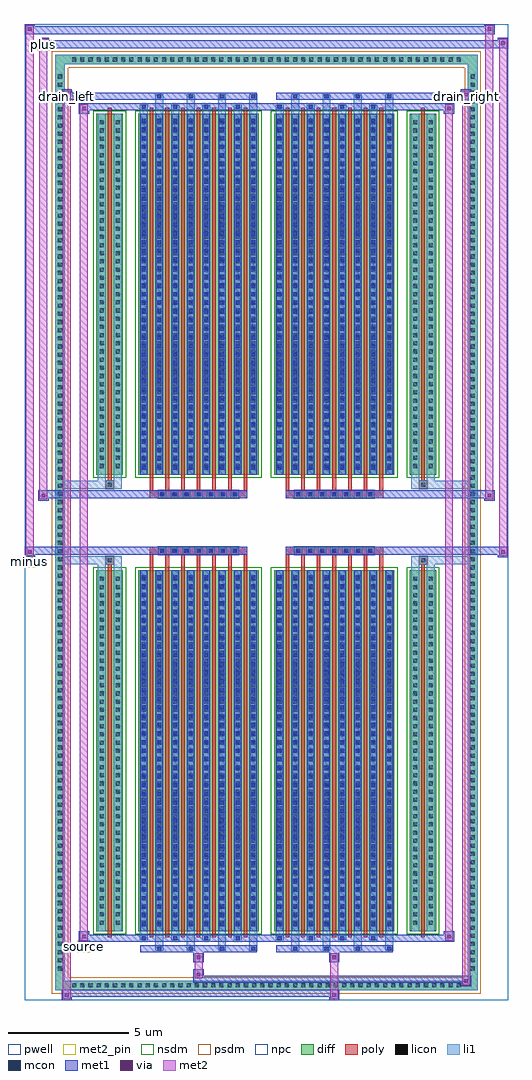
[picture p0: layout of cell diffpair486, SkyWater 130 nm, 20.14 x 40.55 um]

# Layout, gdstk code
import gdstk
lib = gdstk.Library(unit=1e-6, precision=5e-09)
def R(c, l, rs):  # rectangles x0, y0, x1, y1
    for r in rs: c.add(gdstk.rectangle(r[:2], r[2:], *l))
def A(c, l, x, y, w, h, nx, ny, dx, dy):  # array of equal rectangles
    R(c, l, [(x+i*dx, y+j*dy, x+i*dx+w, y+j*dy+h) for i in range(nx) for j in range(ny)])
def P(c, l, *ps):  # polygons
    for p in ps: c.add(gdstk.Polygon(p, *l))
pwell = (64, 44)
diff = (65, 20)
poly = (66, 20)
licon = (66, 44)
li1 = (67, 20)
mcon = (67, 44)
met1 = (68, 20)
via = (68, 44)
met2_pin = (69, 16)
met2 = (69, 20)
nsdm = (93, 44)
psdm = (94, 20)
npc = (95, 20)

diffpair486 = lib.new_cell('diffpair486')
R(diffpair486, pwell, [(-10.05,-19.84,10.05,20.71), (-7.37,-18.03,-0.01,-0.805), (0.01,-18.03,7.37,-0.805), (-7.37,0.805,-0.01,18.03), (0.01,0.805,7.37,18.03)])
A(diffpair486, diff, -8.195, -19.44, 0.41, 0.41, 48, 2, 0.34, 38.47)
A(diffpair486, diff, -8.78, -18.735, 0.41, 0.41, 1, 110, 0, 0.34)
A(diffpair486, diff, 8.37, -18.735, 0.41, 0.41, 1, 110, 0, 0.34)
R(diffpair486, diff, [(-8.195,-19.44,8.195,-19.03), (-8.78,-18.735,-8.37,18.735), (8.37,-18.735,8.78,18.735), (-7.06,-16.985,-5.96,-1.985), (-5.32,-16.985,-0.32,-1.985), (0.32,-16.985,5.32,-1.985), (5.96,-16.985,7.06,-1.985), (-7.06,1.985,-5.96,16.985), (-5.32,1.985,-0.32,16.985), (0.32,1.985,5.32,16.985), (5.96,1.985,7.06,16.985), (-8.195,19.03,8.195,19.44)])
P(diffpair486, diff, [(8.78,19.44),(-8.78,19.44),(-8.78,-19.03),(-8.37,-19.03),(-8.37,19.03),(8.37,19.03),(8.37,-19.03),(-8.37,-19.03),(-8.78,-19.03),(-8.78,-19.44),(8.78,-19.44)])
A(diffpair486, poly, -4.845, -17.235, 0.15, 15.5, 7, 2, 0.65, 18.97)
A(diffpair486, poly, 0.795, -17.235, 0.15, 15.5, 7, 2, 0.65, 18.97)
A(diffpair486, poly, -4.845, -1.735, 0.15, 0.4, 7, 2, 0.65, 3.07)
A(diffpair486, poly, 0.795, -1.735, 0.15, 0.4, 7, 2, 0.65, 3.07)
A(diffpair486, poly, -4.485, -1.335, 0.33, 0.33, 7, 2, 0.5, 2.34)
A(diffpair486, poly, 1.155, -1.335, 0.33, 0.33, 7, 2, 0.5, 2.34)
R(diffpair486, poly, [(-6.585,-17.235,-6.435,-1.735), (6.435,-17.235,6.585,-1.735), (-6.675,-1.735,-6.345,-1.405), (-6.675,-1.735,-6.345,-1.405), (6.345,-1.735,6.675,-1.405), (6.345,-1.735,6.675,-1.405), (-4.845,-1.335,-0.795,-1.005), (0.795,-1.335,4.845,-1.005), (-4.845,1.005,-0.795,1.335), (0.795,1.005,4.845,1.335), (-6.675,1.405,-6.345,1.735), (-6.675,1.405,-6.345,1.735), (6.345,1.405,6.675,1.735), (6.345,1.405,6.675,1.735), (-6.585,1.735,-6.435,17.235), (6.435,1.735,6.585,17.235)])
A(diffpair486, licon, -8.075, -19.32, 0.17, 0.17, 48, 2, 0.34, 38.47)
A(diffpair486, licon, -8.66, -18.615, 0.17, 0.17, 1, 110, 0, 0.34)
A(diffpair486, licon, 8.49, -18.615, 0.17, 0.17, 1, 110, 0, 0.34)
A(diffpair486, licon, -6.92, -16.71, 0.17, 0.17, 1, 43, 0, 0.34)
A(diffpair486, licon, -6.27, -16.71, 0.17, 0.17, 1, 43, 0, 0.34)
A(diffpair486, licon, -5.18, -16.71, 0.17, 0.17, 8, 43, 0.65, 0.34)
A(diffpair486, licon, 0.46, -16.71, 0.17, 0.17, 8, 43, 0.65, 0.34)
A(diffpair486, licon, 6.1, -16.71, 0.17, 0.17, 1, 43, 0, 0.34)
A(diffpair486, licon, 6.75, -16.71, 0.17, 0.17, 1, 43, 0, 0.34)
A(diffpair486, licon, -4.405, -1.255, 0.17, 0.17, 7, 2, 0.5, 2.34)
A(diffpair486, licon, 1.235, -1.255, 0.17, 0.17, 7, 2, 0.5, 2.34)
A(diffpair486, licon, -6.92, 2.26, 0.17, 0.17, 1, 43, 0, 0.34)
A(diffpair486, licon, -6.27, 2.26, 0.17, 0.17, 1, 43, 0, 0.34)
A(diffpair486, licon, -5.18, 2.26, 0.17, 0.17, 8, 43, 0.65, 0.34)
A(diffpair486, licon, 0.46, 2.26, 0.17, 0.17, 8, 43, 0.65, 0.34)
A(diffpair486, licon, 6.1, 2.26, 0.17, 0.17, 1, 43, 0, 0.34)
A(diffpair486, licon, 6.75, 2.26, 0.17, 0.17, 1, 43, 0, 0.34)
R(diffpair486, licon, [(-6.595,-1.655,-6.425,-1.485), (6.425,-1.655,6.595,-1.485), (-6.595,1.485,-6.425,1.655), (6.425,1.485,6.595,1.655)])
A(diffpair486, li1, -8.155, -19.4, 0.33, 0.33, 48, 2, 0.34, 38.47)
A(diffpair486, li1, -8.74, -18.695, 0.33, 0.33, 1, 110, 0, 0.34)
A(diffpair486, li1, 8.41, -18.695, 0.33, 0.33, 1, 110, 0, 0.34)
A(diffpair486, li1, -4.61, -17.79, 0.33, 0.805, 4, 2, 1.3, 34.775)
A(diffpair486, li1, -4.53, -17.79, 0.17, 0.17, 4, 2, 1.3, 35.41)
A(diffpair486, li1, 1.03, -17.79, 0.33, 0.805, 4, 2, 1.3, 34.775)
A(diffpair486, li1, 1.11, -17.79, 0.17, 0.17, 4, 2, 1.3, 35.41)
A(diffpair486, li1, -5.26, -17.36, 0.33, 0.375, 4, 2, 1.3, 34.345)
A(diffpair486, li1, -5.18, -17.36, 0.17, 0.17, 4, 2, 1.3, 34.55)
A(diffpair486, li1, 0.38, -17.36, 0.33, 0.375, 4, 2, 1.3, 34.345)
A(diffpair486, li1, 0.46, -17.36, 0.17, 0.17, 4, 2, 1.3, 34.55)
A(diffpair486, li1, -5.26, -16.985, 0.33, 15, 8, 2, 0.65, 18.97)
A(diffpair486, li1, 0.38, -16.985, 0.33, 15, 8, 2, 0.65, 18.97)
A(diffpair486, li1, -7, -16.79, 0.33, 0.33, 1, 43, 0, 0.34)
A(diffpair486, li1, -6.35, -16.79, 0.33, 0.33, 1, 43, 0, 0.34)
A(diffpair486, li1, -5.26, -16.79, 0.33, 0.33, 8, 43, 0.65, 0.34)
A(diffpair486, li1, 0.38, -16.79, 0.33, 0.33, 8, 43, 0.65, 0.34)
A(diffpair486, li1, 6.02, -16.79, 0.33, 0.33, 1, 43, 0, 0.34)
A(diffpair486, li1, 6.67, -16.79, 0.33, 0.33, 1, 43, 0, 0.34)
A(diffpair486, li1, -5.18, -16.77, 0.17, 0.17, 8, 41, 0.65, 0.36)
A(diffpair486, li1, -5.18, -16.77, 0.17, 14.57, 8, 2, 0.65, 18.97)
A(diffpair486, li1, 0.46, -16.77, 0.17, 0.17, 8, 41, 0.65, 0.36)
A(diffpair486, li1, 0.46, -16.77, 0.17, 14.57, 8, 2, 0.65, 18.97)
A(diffpair486, li1, -4.485, -1.335, 0.33, 0.33, 7, 2, 0.5, 2.34)
A(diffpair486, li1, 1.155, -1.335, 0.33, 0.33, 7, 2, 0.5, 2.34)
A(diffpair486, li1, -7, 2.18, 0.33, 0.33, 1, 43, 0, 0.34)
A(diffpair486, li1, -6.35, 2.18, 0.33, 0.33, 1, 43, 0, 0.34)
A(diffpair486, li1, -5.26, 2.18, 0.33, 0.33, 8, 43, 0.65, 0.34)
A(diffpair486, li1, 0.38, 2.18, 0.33, 0.33, 8, 43, 0.65, 0.34)
A(diffpair486, li1, 6.02, 2.18, 0.33, 0.33, 1, 43, 0, 0.34)
A(diffpair486, li1, 6.67, 2.18, 0.33, 0.33, 1, 43, 0, 0.34)
A(diffpair486, li1, -5.18, 2.2, 0.17, 0.17, 8, 41, 0.65, 0.36)
A(diffpair486, li1, 0.46, 2.2, 0.17, 0.17, 8, 41, 0.65, 0.36)
R(diffpair486, li1, [(-8.78,-19.44,-8.37,-19.03), (-8.78,-19.44,-8.37,-19.03), (-8.37,-19.44,8.37,-19.03), (8.37,-19.44,8.78,-19.03), (8.37,-19.44,8.78,-19.03), (-8.78,-19.03,-8.37,19.03), (8.37,-19.03,8.78,19.03), (-7,-16.985,-6.67,-1.985), (-6.35,-16.985,-6.02,-1.985), (6.02,-16.985,6.35,-1.985), (6.67,-16.985,7,-1.985), (-7,-1.985,-6.67,-1.405), (-6.35,-1.985,-6.02,-1.405), (6.02,-1.985,6.35,-1.405), (6.67,-1.985,7,-1.405), (-8.78,-1.735,-6.675,-1.405), (-7,-1.735,-6.675,-1.405), (-6.675,-1.735,-6.345,-1.405), (-6.345,-1.735,-6.02,-1.405), (6.02,-1.735,6.345,-1.405), (6.345,-1.735,6.675,-1.405), (6.345,-1.735,8.78,-1.405), (6.675,-1.735,7,-1.405), (-8.78,1.405,-6.675,1.735), (-7,1.405,-6.675,1.735), (-7,1.405,-6.67,1.985), (-6.675,1.405,-6.345,1.735), (-6.35,1.405,-6.02,1.985), (-6.345,1.405,-6.02,1.735), (6.02,1.405,6.345,1.735), (6.02,1.405,6.35,1.985), (6.345,1.405,6.675,1.735), (6.345,1.405,8.78,1.735), (6.67,1.405,7,1.985), (6.675,1.405,7,1.735), (-7,1.985,-6.67,16.985), (-6.35,1.985,-6.02,16.985), (6.02,1.985,6.35,16.985), (6.67,1.985,7,16.985), (-8.78,19.03,-8.37,19.44), (-8.78,19.03,-8.37,19.44), (-8.37,19.03,8.37,19.44), (8.37,19.03,8.78,19.44), (8.37,19.03,8.78,19.44)])
A(diffpair486, mcon, -4.53, -17.79, 0.17, 0.17, 4, 2, 1.3, 35.41)
A(diffpair486, mcon, 1.11, -17.79, 0.17, 0.17, 4, 2, 1.3, 35.41)
A(diffpair486, mcon, -5.18, -17.36, 0.17, 0.17, 4, 2, 1.3, 34.55)
A(diffpair486, mcon, 0.46, -17.36, 0.17, 0.17, 4, 2, 1.3, 34.55)
A(diffpair486, mcon, -5.18, -16.77, 0.17, 0.17, 8, 41, 0.65, 0.36)
A(diffpair486, mcon, 0.46, -16.77, 0.17, 0.17, 8, 41, 0.65, 0.36)
A(diffpair486, mcon, -4.405, -1.255, 0.17, 0.17, 7, 2, 0.5, 2.34)
A(diffpair486, mcon, 1.235, -1.255, 0.17, 0.17, 7, 2, 0.5, 2.34)
A(diffpair486, mcon, -5.18, 2.2, 0.17, 0.17, 8, 41, 0.65, 0.36)
A(diffpair486, mcon, 0.46, 2.2, 0.17, 0.17, 8, 41, 0.65, 0.36)
A(diffpair486, met1, -4.59, -17.85, 0.29, 0.29, 4, 2, 1.3, 35.41)
A(diffpair486, met1, 1.05, -17.85, 0.29, 0.29, 4, 2, 1.3, 35.41)
A(diffpair486, met1, -5.24, -17.42, 0.29, 0.29, 4, 2, 1.3, 34.55)
A(diffpair486, met1, 0.4, -17.42, 0.29, 0.29, 4, 2, 1.3, 34.55)
A(diffpair486, met1, -5.24, -16.985, 0.29, 15, 8, 2, 0.65, 18.97)
A(diffpair486, met1, 0.4, -16.985, 0.29, 15, 8, 2, 0.65, 18.97)
A(diffpair486, met1, -5.24, -16.83, 0.29, 0.29, 8, 41, 0.65, 0.36)
A(diffpair486, met1, 0.4, -16.83, 0.29, 0.29, 8, 41, 0.65, 0.36)
A(diffpair486, met1, -4.465, -1.315, 0.29, 0.29, 7, 2, 0.5, 2.34)
A(diffpair486, met1, 1.175, -1.315, 0.29, 0.29, 7, 2, 0.5, 2.34)
A(diffpair486, met1, -5.24, 2.14, 0.29, 0.29, 8, 41, 0.65, 0.36)
A(diffpair486, met1, 0.4, 2.14, 0.29, 0.29, 8, 41, 0.65, 0.36)
R(diffpair486, met1, [(-8.51,-19.84,-8.08,-19.41), (2.605,-19.84,3.035,-19.41), (-8.51,-19.7,3.035,-19.41), (8.08,-19.27,8.51,-18.84), (-3.035,-19.13,8.51,-18.84), (-3.035,-18.99,-2.605,-18.56), (-3.035,-18.28,-2.605,-17.85), (2.605,-18.28,3.035,-17.85), (-5.24,-17.85,-0.4,-17.56), (0.4,-17.85,5.24,-17.56), (-7.8,-17.42,-7.37,-16.99), (-7.8,-17.42,-5.24,-17.13), (-5.24,-17.42,-0.4,-17.13), (-0.4,-17.42,0.4,-17.13), (0.4,-17.42,5.24,-17.13), (5.24,-17.42,7.8,-17.13), (7.37,-17.42,7.8,-16.99), (-10.05,-1.435,-9.62,-1.005), (9.62,-1.435,10.05,-1.005), (-10.05,-1.335,-0.795,-1.005), (-4.845,-1.335,-0.795,-1.005), (0.795,-1.335,4.845,-1.005), (0.795,-1.335,10.05,-1.005), (-9.48,0.905,-9.05,1.335), (9.05,0.905,9.48,1.335), (-9.48,1.005,-4.845,1.335), (-4.845,1.005,-0.795,1.335), (0.795,1.005,4.845,1.335), (4.845,1.005,9.48,1.335), (-7.8,16.99,-7.37,17.42), (7.37,16.99,7.8,17.42), (-7.8,17.13,-5.24,17.42), (-5.24,17.13,-0.4,17.42), (-0.4,17.13,0.4,17.42), (0.4,17.13,5.24,17.42), (5.24,17.13,7.8,17.42), (-8.51,17.56,-8.08,17.99), (-8.51,17.56,-5.24,17.85), (-5.24,17.56,-0.4,17.85), (0.4,17.56,5.24,17.85), (5.24,17.56,8.51,17.85), (8.08,17.56,8.51,17.99), (-9.48,19.71,-9.05,20.14), (-9.48,19.71,-7.37,20.04), (-7.37,19.71,7.37,20.04), (7.37,19.71,10.05,20.04), (9.62,19.71,10.05,20.14), (-10.05,20.28,-9.62,20.71), (-10.05,20.28,-7.37,20.61), (-7.37,20.28,7.37,20.61), (7.37,20.28,9.48,20.61), (9.05,20.28,9.48,20.71)])
R(diffpair486, via, [(-8.37,-19.7,-8.22,-19.55), (2.745,-19.7,2.895,-19.55), (8.22,-19.13,8.37,-18.98), (-2.895,-18.85,-2.745,-18.7), (-2.895,-18.14,-2.745,-17.99), (2.745,-18.14,2.895,-17.99), (-7.66,-17.28,-7.51,-17.13), (7.51,-17.28,7.66,-17.13), (-9.91,-1.295,-9.76,-1.145), (9.76,-1.295,9.91,-1.145), (-9.34,1.045,-9.19,1.195), (9.19,1.045,9.34,1.195), (-7.66,17.13,-7.51,17.28), (7.51,17.13,7.66,17.28), (-8.37,17.7,-8.22,17.85), (8.22,17.7,8.37,17.85), (-9.34,19.85,-9.19,20), (9.76,19.85,9.91,20), (-9.91,20.42,-9.76,20.57), (9.19,20.42,9.34,20.57)])
R(diffpair486, met2_pin, [(-7.835,-17.87,-7.335,-17.37), (-10.085,-1.885,-9.585,-1.385), (-8.545,17.44,-8.045,17.94), (8.045,17.44,8.545,17.94), (-9.515,19.59,-9.015,20.09)])
R(diffpair486, met2, [(-8.46,-19.79,-8.13,-19.46), (-8.46,-19.79,-8.13,17.94), (2.655,-19.79,2.985,-19.46), (2.655,-19.46,2.985,-18.23), (8.13,-19.22,8.46,-18.89), (8.13,-19.22,8.46,17.94), (-2.985,-18.94,-2.655,-18.61), (-2.985,-18.61,-2.655,-18.23), (-2.985,-18.23,-2.655,-17.9), (2.655,-18.23,2.985,-17.9), (-7.75,-17.37,-7.42,-17.04), (-7.75,-17.37,-7.42,17.37), (7.42,-17.37,7.75,-17.04), (7.42,-17.37,7.75,17.37), (-10,-1.385,-9.67,-1.055), (-10,-1.385,-9.67,20.66), (9.67,-1.385,10,-1.055), (9.67,-1.385,10,20.09), (-9.43,0.955,-9.1,1.285), (-9.43,0.955,-9.1,20.09), (9.1,0.955,9.43,1.285), (9.1,0.955,9.43,20.66), (-7.75,17.04,-7.42,17.37), (7.42,17.04,7.75,17.37), (-8.46,17.61,-8.13,17.94), (8.13,17.61,8.46,17.94), (-9.43,19.76,-9.1,20.09), (9.67,19.76,10,20.09), (-10,20.33,-9.67,20.66), (9.1,20.33,9.43,20.66)])
P(diffpair486, met2, [(10,-1.385),(10,-1.385),(10,-1.055),(10,-1.055)],
  [(10,19.76),(10,19.76),(10,20.09),(10,20.09)],
  [(-9.67,-1.385),(-9.67,-1.385),(-9.67,-1.055),(-9.67,-1.055)],
  [(-9.67,20.33),(-9.67,20.33),(-9.67,20.66),(-9.67,20.66)],
  [(9.43,0.955),(9.43,0.955),(9.43,1.285),(9.43,1.285)],
  [(9.43,20.33),(9.43,20.33),(9.43,20.66),(9.43,20.66)],
  [(-9.1,0.955),(-9.1,0.955),(-9.1,1.285),(-9.1,1.285)],
  [(-9.1,19.76),(-9.1,19.76),(-9.1,20.09),(-9.1,20.09)],
  [(-8.13,-19.79),(-8.13,-19.79),(-8.13,-19.46),(-8.13,-19.46)],
  [(-8.13,17.61),(-8.13,17.61),(-8.13,17.94),(-8.13,17.94)],
  [(8.46,-19.22),(8.46,-19.22),(8.46,-18.89),(8.46,-18.89)],
  [(8.46,17.61),(8.46,17.61),(8.46,17.94),(8.46,17.94)],
  [(-7.42,-17.37),(-7.42,-17.37),(-7.42,-17.04),(-7.42,-17.04)],
  [(-7.42,17.04),(-7.42,17.04),(-7.42,17.37),(-7.42,17.37)],
  [(7.75,-17.37),(7.75,-17.37),(7.75,-17.04),(7.75,-17.04)],
  [(7.75,17.04),(7.75,17.04),(7.75,17.37),(7.75,17.37)])
R(diffpair486, nsdm, [(-7.19,-17.115,-5.83,-1.855), (-5.45,-17.115,-0.19,-1.855), (0.19,-17.115,5.45,-1.855), (5.83,-17.115,7.19,-1.855), (-7.19,1.855,-5.83,17.115), (-5.45,1.855,-0.19,17.115), (0.19,1.855,5.45,17.115), (5.83,1.855,7.19,17.115)])
P(diffpair486, psdm, [(8.91,19.57),(-8.91,19.57),(-8.91,-18.9),(-8.24,-18.9),(-8.24,18.9),(8.24,18.9),(8.24,-18.9),(-8.24,-18.9),(-8.91,-18.9),(-8.91,-19.57),(8.91,-19.57)])
A(diffpair486, npc, -4.505, -1.355, 0.37, 0.37, 7, 2, 0.5, 2.34)
A(diffpair486, npc, 1.135, -1.355, 0.37, 0.37, 7, 2, 0.5, 2.34)
R(diffpair486, npc, [(-6.695,-1.755,-6.325,-1.385), (6.325,-1.755,6.695,-1.385), (-4.505,-1.355,-3.635,-0.985), (-4.505,-1.355,-3.635,-0.985), (-4.005,-1.355,-3.135,-0.985), (-4.005,-1.355,-3.135,-0.985), (-3.505,-1.355,-2.635,-0.985), (-3.505,-1.355,-2.635,-0.985), (-3.005,-1.355,-2.135,-0.985), (-3.005,-1.355,-2.135,-0.985), (-2.505,-1.355,-1.635,-0.985), (-2.505,-1.355,-1.635,-0.985), (-2.005,-1.355,-1.135,-0.985), (-2.005,-1.355,-1.135,-0.985), (1.135,-1.355,2.005,-0.985), (1.135,-1.355,2.005,-0.985), (1.635,-1.355,2.505,-0.985), (1.635,-1.355,2.505,-0.985), (2.135,-1.355,3.005,-0.985), (2.135,-1.355,3.005,-0.985), (2.635,-1.355,3.505,-0.985), (2.635,-1.355,3.505,-0.985), (3.135,-1.355,4.005,-0.985), (3.135,-1.355,4.005,-0.985), (3.635,-1.355,4.505,-0.985), (3.635,-1.355,4.505,-0.985), (-4.505,0.985,-3.635,1.355), (-4.505,0.985,-3.635,1.355), (-4.005,0.985,-3.135,1.355), (-4.005,0.985,-3.135,1.355), (-3.505,0.985,-2.635,1.355), (-3.505,0.985,-2.635,1.355), (-3.005,0.985,-2.135,1.355), (-3.005,0.985,-2.135,1.355), (-2.505,0.985,-1.635,1.355), (-2.505,0.985,-1.635,1.355), (-2.005,0.985,-1.135,1.355), (-2.005,0.985,-1.135,1.355), (1.135,0.985,2.005,1.355), (1.135,0.985,2.005,1.355), (1.635,0.985,2.505,1.355), (1.635,0.985,2.505,1.355), (2.135,0.985,3.005,1.355), (2.135,0.985,3.005,1.355), (2.635,0.985,3.505,1.355), (2.635,0.985,3.505,1.355), (3.135,0.985,4.005,1.355), (3.135,0.985,4.005,1.355), (3.635,0.985,4.505,1.355), (3.635,0.985,4.505,1.355), (-6.695,1.385,-6.325,1.755), (6.325,1.385,6.695,1.755)])
diffpair486.add(gdstk.Label('minus', (-9.835,-1.635), layer=69, texttype=5))
diffpair486.add(gdstk.Label('drain_right', (8.295,17.69), layer=69, texttype=5))
diffpair486.add(gdstk.Label('drain_left', (-8.295,17.69), layer=69, texttype=5))
diffpair486.add(gdstk.Label('source', (-7.585,-17.62), layer=69, texttype=5))
diffpair486.add(gdstk.Label('plus', (-9.265,19.84), layer=69, texttype=5))

lib.write_gds('diffpair486.gds')
